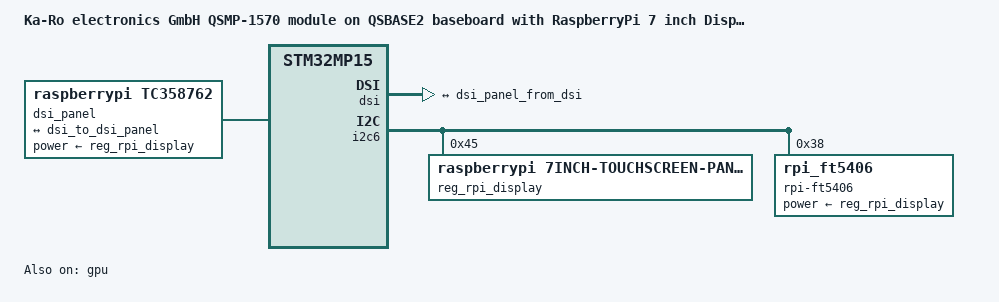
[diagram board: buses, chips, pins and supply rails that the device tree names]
// SPDX-License-Identifier: GPL-2.0 OR BSD-3-Clause
/*
 * Copyright (C) 2020 Markus Bauer <mb@karo-electronics.de>
 */

#include "stm32mp157c-qsmp-1570.dts"
#include "stm32mp15-karo-qsbase2.dtsi"
#include "stm32mp15-karo-dsi-panel.dtsi"

/ {
	model = "Ka-Ro electronics GmbH QSMP-1570 module on QSBASE2 baseboard with RaspberryPi 7 inch Display";
};

&dsi {
	status = "okay";

	ports {
		port@1 {
			reg = <1>;

			dsi_to_dsi_panel: endpoint {
				remote-endpoint = <&dsi_panel_from_dsi>;
			};
		};
	};
};

&dsi_panel {
	compatible = "raspberrypi,tc358762";
	dsi-lanes = <1>;
	video-mode = <2>;
	panel-width-mm = <154>;
	panel-height-mm = <86>;
	power-supply = <&reg_rpi_display>;

	port {
		dsi_panel_from_dsi: endpoint {
			remote-endpoint = <&dsi_to_dsi_panel>;
		};
	};
};

&gpu {
	status = "okay";
};

&i2c6 {
	status = "okay";

	reg_rpi_display: regulator-rpi-display@45 {
		compatible = "raspberrypi,7inch-touchscreen-panel-regulator";
		reg = <0x45>;
		regulator-min-microvolt = <3300000>;
		regulator-max-microvolt = <3300000>;
	};

	rpi-ft5406@38 {
		compatible = "rpi_ft5406";
		reg = <0x38>;
		power-supply = <&reg_rpi_display>;
	};
};
